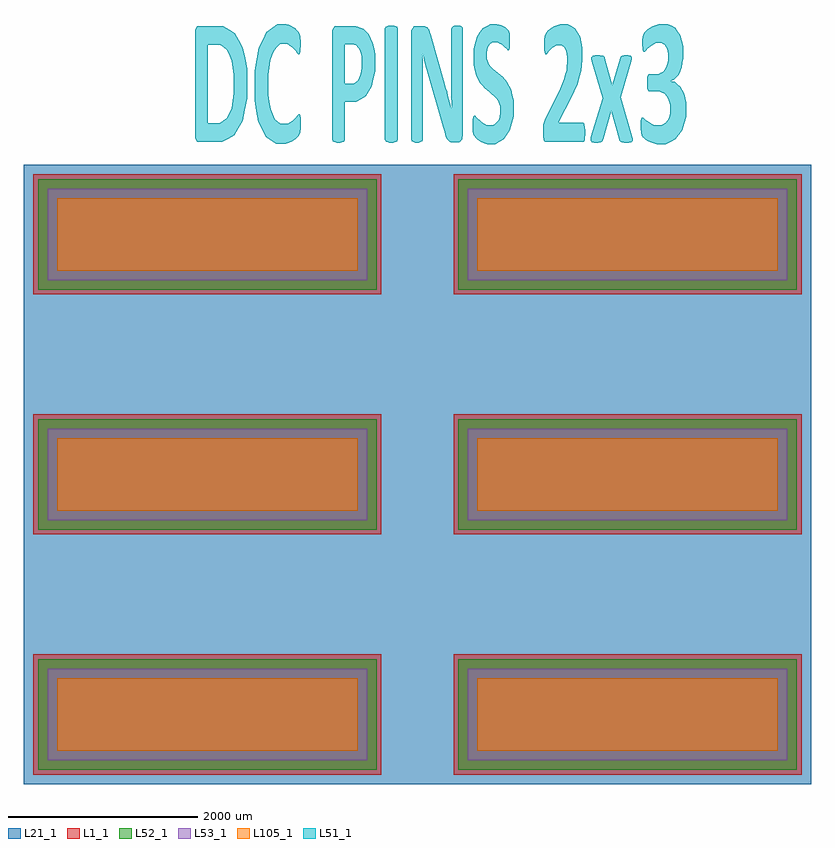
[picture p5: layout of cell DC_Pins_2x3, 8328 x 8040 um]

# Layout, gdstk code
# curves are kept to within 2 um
import gdstk
lib = gdstk.Library(unit=1e-6, precision=1e-09)
def R(c, l, rs):  # rectangles x0, y0, x1, y1
    for r in rs: c.add(gdstk.rectangle(r[:2], r[2:], *l))
def A(c, l, x, y, w, h, nx, ny, dx, dy):  # array of equal rectangles
    R(c, l, [(x+i*dx, y+j*dy, x+i*dx+w, y+j*dy+h) for i in range(nx) for j in range(ny)])
def P(c, l, *ps):  # polygons
    for p in ps: c.add(gdstk.Polygon(p, *l))
L1_1 = (1, 1)
L21_1 = (21, 1)
L51_1 = (51, 1)
L52_1 = (52, 1)
L53_1 = (53, 1)
L105_1 = (105, 1)

dc_pins_2x3 = lib.new_cell('DC_Pins_2x3')
A(dc_pins_2x3, L1_1, 0, 0, 3683, 1270, 1, 3, 0, 2540)
A(dc_pins_2x3, L1_1, 4445, 0, 3683, 1270, 1, 3, 0, 2540)
P(dc_pins_2x3, L21_1, [(-100,-100),(8228,-100),(8228,6450),(-100,6450),(-100,0)])
P(dc_pins_2x3, L51_1, [(4543.986,7881.239),(4538.875,7905.881),(4526.098,7917.254),(4502.588,7921.993),(4466.812,7921.993),(4443.302,7917.254),(4428.992,7905.881),(4422.858,7890.716),(4422.858,7240.552),(4425.925,7030.149),(4343.129,7341.963),(4204.625,7827.216),(4186.226,7877.448),(4165.272,7905.881),(4138.695,7918.201),(4026.768,7918.201),(3998.658,7873.657),(3998.658,6717.388),(4003.769,6702.224),(4017.057,6691.799),(4040.567,6686.112),(4076.854,6686.112),(4100.364,6691.799),(4114.163,6702.224),(4119.785,6717.388),(4119.785,7440.53),(4115.696,7644.299),(4172.427,7418.731),(4349.773,6797.948),(4370.217,6738.239),(4392.193,6703.172),(4418.259,6689.903),(4503.099,6689.903),(4522.009,6700.328),(4535.808,6723.075),(4543.986,6757.194)],
  [(2261.48,7468.963),(2217.526,7690.739),(2133.197,7841.433),(2010.026,7918.201),(1735.062,7918.201),(1712.063,7881.239),(1712.063,6728.761),(1735.062,6691.799),(1845.967,6691.799),(1845.967,7722.963),(1975.783,7722.963),(2051.935,7661.358),(2100.488,7551.418),(2122.464,7401.672),(2122.464,7208.328),(2097.421,7049.104),(2046.824,6942.007),(1971.183,6888.933),(1845.967,6888.933),(1845.967,6691.799),(1997.76,6691.799),(2125.02,6762.881),(2213.949,6914.522),(2261.48,7154.306)],
  [(2829.295,6911.679),(2823.162,6975.179),(2817.029,6982.761),(2805.274,6982.761),(2781.253,6952.433),(2743.944,6914.522),(2691.813,6883.246),(2616.684,6883.246),(2553.82,6933.478),(2509.356,7035.836),(2485.335,7194.112),(2485.335,7400.724),(2507.823,7558.052),(2551.265,7668.94),(2613.106,7728.649),(2688.236,7728.649),(2739.855,7695.478),(2777.164,7654.724),(2800.674,7621.552),(2812.94,7621.552),(2820.096,7632.925),(2825.206,7657.567),(2825.717,7788.358),(2817.54,7831.955),(2803.741,7857.545),(2768.987,7893.56),(2725.545,7921.045),(2674.436,7938.104),(2578.863,7938.104),(2465.914,7852.806),(2385.162,7687.896),(2340.187,7445.269),(2340.187,7135.351),(2381.073,6904.097),(2457.736,6749.612),(2567.108,6671.896),(2669.837,6671.896),(2729.633,6692.746),(2776.142,6724.022),(2808.341,6758.142),(2824.695,6797),(2829.295,6853.866)],
  [(6907.304,7105.97),(6885.102,7201.694),(6843.472,7277.515),(6783.526,7327.746),(6745.782,7335.328),(6745.782,7338.172),(6777.421,7351.44),(6825.711,7404.515),(6857.904,7480.336),(6874.556,7577.007),(6874.556,7704.955),(6846.248,7819.634),(6791.297,7898.299),(6710.814,7940),(6618.674,7940),(6550.402,7916.306),(6498.227,7882.187),(6463.814,7846.172),(6452.712,7828.164),(6444.387,7792.149),(6443.276,7760.873),(6445.497,7672.731),(6449.937,7653.776),(6456.598,7647.142),(6467.699,7647.142),(6496.007,7677.47),(6536.526,7712.537),(6587.591,7741.918),(6641.987,7741.918),(6679.731,7718.224),(6703.598,7677.47),(6715.809,7621.552),(6715.809,7549.522),(6698.048,7482.231),(6664.189,7434.843),(6614.234,7409.254),(6512.659,7409.254),(6503.223,7401.672),(6497.117,7382.716),(6494.342,7347.649),(6497.117,7253.821),(6503.778,7232.97),(6513.769,7226.336),(6622.56,7226.336),(6680.841,7199.799),(6719.14,7151.463),(6738.567,7083.224),(6738.567,7001.716),(6722.47,6938.216),(6689.722,6893.672),(6643.097,6869.03),(6576.49,6869.03),(6519.874,6894.619),(6477.69,6924),(6450.492,6949.59),(6436.061,6949.59),(6427.18,6914.522),(6427.18,6841.545),(6428.845,6802.687),(6437.726,6758.142),(6447.717,6742.978),(6479.91,6714.545),(6529.31,6688.007),(6593.697,6670),(6690.832,6670),(6792.962,6720.231),(6866.23,6816.903),(6907.304,6959.067)],
  [(5080.114,7133.455),(5055.582,7242.448),(5015.717,7323.007),(4964.609,7380.821),(4860.347,7467.067),(4819.972,7513.507),(4795.951,7573.216),(4795.951,7641.455),(4806.683,7690.739),(4828.66,7725.806),(4861.37,7745.709),(4911.456,7745.709),(4958.476,7720.119),(4994.252,7688.843),(5018.784,7662.306),(5030.028,7662.306),(5036.672,7673.679),(5041.783,7736.231),(5040.76,7821.53),(5034.627,7856.597),(5024.406,7875.552),(4992.718,7903.985),(4951.832,7926.731),(4904.812,7940),(4835.815,7940),(4754.553,7896.403),(4694.756,7808.261),(4659.491,7674.627),(4659.491,7509.716),(4684.023,7399.776),(4723.377,7319.216),(4773.463,7261.403),(4876.702,7175.157),(4916.056,7128.716),(4940.588,7069.007),(4940.588,6991.291),(4926.277,6932.53),(4899.19,6892.724),(4860.347,6870.925),(4798.506,6870.925),(4741.776,6902.201),(4700.889,6940.112),(4674.823,6971.388),(4662.557,6971.388),(4654.891,6960.963),(4650.291,6936.321),(4648.247,6896.515),(4648.247,6823.537),(4653.869,6777.097),(4667.157,6752.455),(4697.311,6720.231),(4742.287,6690.851),(4801.061,6670),(4885.902,6670),(4974.83,6719.284),(5041.271,6816.903),(5080.114,6962.858)],
  [(5836.009,6819.746),(5832.942,6858.604),(5826.809,6882.299),(5818.121,6893.672),(5552.357,6893.672),(5687.794,7147.672),(5758.324,7309.739),(5797.166,7443.373),(5809.432,7559),(5809.432,7686.948),(5784.389,7805.418),(5733.281,7891.664),(5656.107,7940),(5571.778,7940),(5511.47,7917.254),(5461.383,7884.082),(5427.141,7849.015),(5414.364,7826.269),(5409.253,7810.157),(5404.653,7758.978),(5404.653,7704.955),(5411.297,7633.873),(5417.941,7622.5),(5429.185,7622.5),(5452.695,7651.881),(5487.96,7686.948),(5534.469,7715.381),(5586.088,7715.381),(5617.775,7691.687),(5638.73,7649.985),(5649.463,7594.067),(5649.463,7528.672),(5640.774,7452.851),(5617.264,7362.813),(5575.355,7253.821),(5416.408,6940.112),(5403.631,6906.94),(5395.453,6871.873),(5392.387,6827.328),(5392.387,6762.881),(5396.987,6721.179),(5407.208,6699.381),(5423.563,6691.799),(5820.165,6691.799),(5828.343,6702.224),(5833.453,6726.866)],
  [(3615.344,7620.604),(3592.856,7740.97),(3549.925,7831.007),(3489.106,7889.769),(3429.82,7911.567),(3387.4,7918.201),(3187.566,7918.201),(3162.523,7873.657),(3162.523,6716.44),(3168.656,6701.276),(3183.988,6691.799),(3210.053,6686.112),(3249.407,6686.112),(3274.961,6691.799),(3290.294,6701.276),(3296.938,6716.44),(3296.938,7725.806),(3375.134,7725.806),(3414.488,7715.381),(3450.263,7675.575),(3474.796,7592.172),(3474.796,7480.336),(3460.485,7399.776),(3432.887,7341.963),(3389.444,7309.739),(3296.938,7309.739),(3296.938,7117.343),(3417.554,7117.343),(3514.149,7174.209),(3580.59,7283.201),(3615.344,7442.425)],
  [(3854.532,7884.082),(3854.532,7893.56),(3847.888,7908.724),(3832.555,7918.201),(3807.001,7923.888),(3767.647,7923.888),(3742.093,7918.201),(3726.249,7908.724),(3719.605,7893.56),(3719.605,6716.44),(3726.249,6701.276),(3741.582,6691.799),(3767.647,6686.112),(3807.001,6686.112),(3832.555,6691.799),(3847.888,6701.276),(3854.532,6716.44)],
  [(6213.19,7163.784),(6332.272,7566.582),(6332.784,7590.276),(6321.029,7603.545),(6293.941,7607.336),(6251.521,7607.336),(6228.522,7603.545),(6215.234,7595.963),(6209.101,7584.59),(6126.816,7294.575),(6042.998,7586.485),(6035.843,7598.806),(6020.511,7604.493),(5993.423,7607.336),(5945.892,7607.336),(5916.76,7601.649),(5903.472,7588.381),(5903.983,7564.687),(5908.583,7547.627),(6025.11,7157.149),(5894.273,6724.97),(5894.784,6704.119),(5907.05,6690.851),(5933.626,6686.112),(5977.579,6686.112),(6004.156,6688.955),(6018.977,6697.485),(6026.133,6709.806),(6112.506,7019.724),(6198.879,6709.806),(6206.546,6697.485),(6222.389,6688.955),(6298.03,6686.112),(6327.673,6690.851),(6341.983,6704.119),(6342.494,6724.97),(6338.406,6741.082)])
A(dc_pins_2x3, L52_1, 50.8, 50.8, 3581.4, 1168.4, 1, 3, 0, 2540)
A(dc_pins_2x3, L52_1, 4495.8, 50.8, 3581.4, 1168.4, 1, 3, 0, 2540)
A(dc_pins_2x3, L53_1, 150.8, 150.8, 3381.4, 968.4, 1, 3, 0, 2540)
A(dc_pins_2x3, L53_1, 4595.8, 150.8, 3381.4, 968.4, 1, 3, 0, 2540)
A(dc_pins_2x3, L105_1, 250.8, 250.8, 3181.4, 768.4, 1, 3, 0, 2540)
A(dc_pins_2x3, L105_1, 4695.8, 250.8, 3181.4, 768.4, 1, 3, 0, 2540)

lib.write_gds('DC_Pins_2x3.gds')
